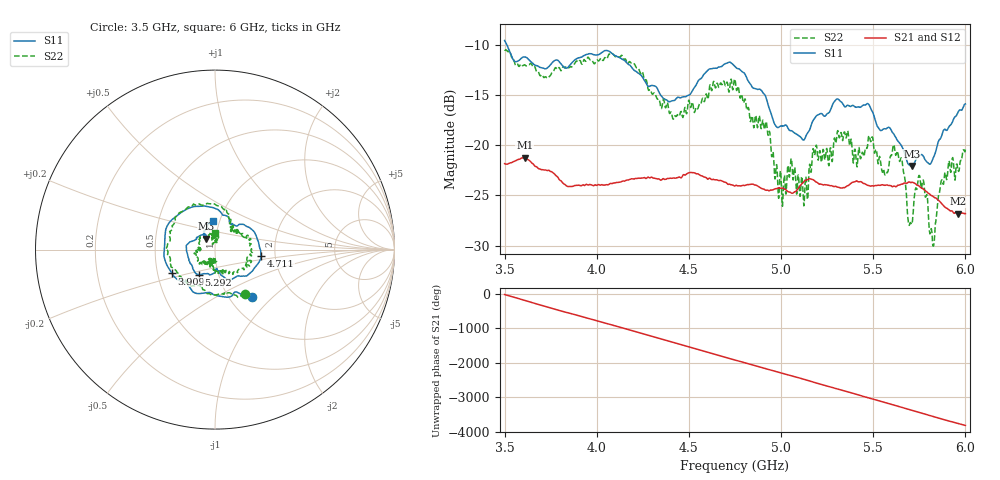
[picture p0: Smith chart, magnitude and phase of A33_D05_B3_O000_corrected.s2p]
! Created with skrf 1.9.0 (http://scikit-rf.org).
# Hz S RI R 50.0
!freq ReS11 ImS11 ReS21 ImS21 ReS12 ImS12 ReS22 ImS22
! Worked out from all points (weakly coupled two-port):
!   1601 points, 3.5 GHz to 6 GHz, reference 50 ohm
!   highest |S21| = -21.24 dB at 3.609 GHz (marker M1); lowest = -26.8 dB at 5.959 GHz (marker M2)
!   lowest |S11| = -22.1 dB at 5.709 GHz (marker M3), VSWR 1.17, Z = 44.8 + j5.43 ohm
!   |S11| at or under -10 dB: 3.513 GHz to end of sweep
!   |S22| runs from -30.1 to -10.5 dB; largest |S21 - S12| = 0.00088
!   S11 on the Smith chart (normalised r, x): 3.5 GHz: 1.27, -0.75; 3.909 GHz: 0.60, -0.17; 4.711 GHz: 1.68, -0.12; 5.292 GHz: 0.80, -0.23; 6 GHz: 0.93, +0.31
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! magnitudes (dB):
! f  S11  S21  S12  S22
! 3.5 GHz  -9.5  -21.8  -21.8  -10.5
! 3.609 GHz  -11.2  -21.2  -21.2  -12.0
! 3.909 GHz  -11.2  -24.0  -24.0  -11.5
! 3.917 GHz  -11.2  -24.0  -24.0  -11.9
! 4.141 GHz  -11.4  -23.6  -23.6  -11.2
! 4.334 GHz  -14.6  -23.3  -23.3  -15.4
! 4.711 GHz  -11.8  -23.9  -23.8  -13.9
! 4.75 GHz  -12.1  -24.1  -24.0  -13.5
! 4.928 GHz  -15.9  -24.5  -24.5  -19.0
! 4.997 GHz  -18.1  -24.3  -24.2  -22.5
! 5.047 GHz  -18.5  -24.7  -24.7  -23.0
! 5.133 GHz  -19.2  -23.5  -23.4  -23.2
! 5.167 GHz  -17.8  -23.4  -23.4  -21.7
! 5.292 GHz  -15.6  -24.1  -24.1  -19.5
! 5.584 GHz  -18.2  -24.0  -24.0  -22.1
! 5.644 GHz  -19.8  -24.0  -23.9  -21.6
! 5.709 GHz  -22.1  -23.7  -23.6  -27.9
! 5.759 GHz  -20.9  -24.2  -24.2  -24.2
! 5.823 GHz  -21.3  -25.1  -25.1  -30.0
! 5.878 GHz  -18.6  -25.9  -25.9  -23.8
! 5.959 GHz  -16.7  -26.8  -26.8  -22.4
! 6 GHz  -15.9  -26.8  -26.7  -20.4
